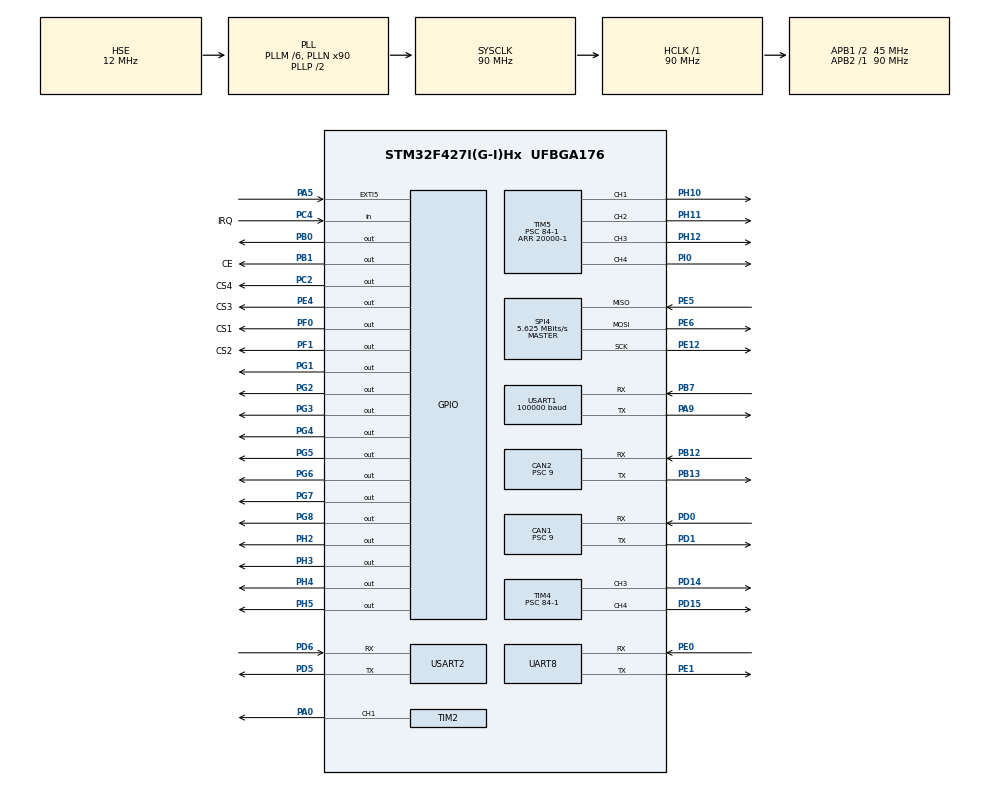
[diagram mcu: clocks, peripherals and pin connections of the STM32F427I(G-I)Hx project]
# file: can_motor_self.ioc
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CAN1.ABOM=DISABLE
CAN1.AWUM=DISABLE
CAN1.BS1=CAN_BS1_2TQ
CAN1.BS2=CAN_BS2_2TQ
CAN1.CalculateBaudRate=1000000
CAN1.CalculateTimeBit=1000
CAN1.CalculateTimeQuantum=200.0
CAN1.Prescaler=9
CAN1.TTCM=DISABLE
CAN2.BS1=CAN_BS1_2TQ
CAN2.BS2=CAN_BS2_2TQ
CAN2.CalculateBaudRate=1000000
CAN2.CalculateTimeBit=1000
CAN2.CalculateTimeQuantum=200.0
CAN2.Prescaler=9
Dma.Request0=UART8_TX
Dma.Request1=UART8_RX
Dma.Request2=SPI4_RX
Dma.Request3=SPI4_TX
Dma.Request4=USART1_RX
Dma.SPI4_RX.2.Direction=DMA_PERIPH_TO_MEMORY
Dma.SPI4_RX.2.FIFOMode=DMA_FIFOMODE_DISABLE
Dma.SPI4_RX.2.Instance=DMA2_Stream0
Dma.SPI4_RX.2.MemDataAlignment=DMA_MDATAALIGN_HALFWORD
Dma.SPI4_RX.2.MemInc=DMA_MINC_ENABLE
Dma.SPI4_RX.2.Mode=DMA_NORMAL
Dma.SPI4_RX.2.PeriphDataAlignment=DMA_PDATAALIGN_HALFWORD
Dma.SPI4_RX.2.PeriphInc=DMA_PINC_DISABLE
Dma.SPI4_RX.2.Priority=DMA_PRIORITY_LOW
Dma.SPI4_TX.3.Direction=DMA_MEMORY_TO_PERIPH
Dma.SPI4_TX.3.FIFOMode=DMA_FIFOMODE_DISABLE
Dma.SPI4_TX.3.Instance=DMA2_Stream1
Dma.SPI4_TX.3.MemDataAlignment=DMA_MDATAALIGN_HALFWORD
Dma.SPI4_TX.3.MemInc=DMA_MINC_ENABLE
Dma.SPI4_TX.3.Mode=DMA_NORMAL
Dma.SPI4_TX.3.PeriphDataAlignment=DMA_PDATAALIGN_HALFWORD
Dma.SPI4_TX.3.PeriphInc=DMA_PINC_DISABLE
Dma.SPI4_TX.3.Priority=DMA_PRIORITY_LOW
Dma.UART8_RX.1.Direction=DMA_PERIPH_TO_MEMORY
Dma.UART8_RX.1.FIFOMode=DMA_FIFOMODE_DISABLE
Dma.UART8_RX.1.Instance=DMA1_Stream6
Dma.UART8_RX.1.MemDataAlignment=DMA_MDATAALIGN_BYTE
Dma.UART8_RX.1.MemInc=DMA_MINC_ENABLE
Dma.UART8_RX.1.Mode=DMA_NORMAL
Dma.UART8_RX.1.PeriphDataAlignment=DMA_PDATAALIGN_BYTE
Dma.UART8_RX.1.PeriphInc=DMA_PINC_DISABLE
Dma.UART8_RX.1.Priority=DMA_PRIORITY_VERY_HIGH
Dma.UART8_TX.0.Direction=DMA_MEMORY_TO_PERIPH
Dma.UART8_TX.0.FIFOMode=DMA_FIFOMODE_DISABLE
Dma.UART8_TX.0.Instance=DMA1_Stream0
Dma.UART8_TX.0.MemDataAlignment=DMA_MDATAALIGN_BYTE
Dma.UART8_TX.0.MemInc=DMA_MINC_ENABLE
Dma.UART8_TX.0.Mode=DMA_NORMAL
Dma.UART8_TX.0.PeriphDataAlignment=DMA_PDATAALIGN_BYTE
Dma.UART8_TX.0.PeriphInc=DMA_PINC_DISABLE
Dma.UART8_TX.0.Priority=DMA_PRIORITY_VERY_HIGH
Dma.USART1_RX.4.Direction=DMA_PERIPH_TO_MEMORY
Dma.USART1_RX.4.FIFOMode=DMA_FIFOMODE_ENABLE
Dma.USART1_RX.4.FIFOThreshold=DMA_FIFO_THRESHOLD_FULL
Dma.USART1_RX.4.Instance=DMA2_Stream2
Dma.USART1_RX.4.MemBurst=DMA_MBURST_SINGLE
Dma.USART1_RX.4.MemDataAlignment=DMA_MDATAALIGN_BYTE
Dma.USART1_RX.4.MemInc=DMA_MINC_ENABLE
Dma.USART1_RX.4.Mode=DMA_CIRCULAR
Dma.USART1_RX.4.PeriphBurst=DMA_PBURST_SINGLE
Dma.USART1_RX.4.PeriphDataAlignment=DMA_PDATAALIGN_BYTE
Dma.USART1_RX.4.PeriphInc=DMA_PINC_DISABLE
Dma.USART1_RX.4.Priority=DMA_PRIORITY_LOW
Mcu.Family=STM32F4
Mcu.Name=STM32F427I(G-I)Hx
Mcu.Package=UFBGA176
NVIC.CAN1_RX0_IRQn=true\:0\:0\:false\:false\:true\:true\:true\:true
NVIC.CAN2_RX0_IRQn=true\:0\:0\:false\:false\:true\:true\:true\:true
NVIC.DMA1_Stream0_IRQn=true\:0\:0\:false\:false\:true\:false\:true\:true
NVIC.DMA1_Stream6_IRQn=true\:0\:0\:false\:false\:true\:false\:true\:true
NVIC.DMA2_Stream0_IRQn=true\:0\:0\:false\:false\:true\:false\:true\:true
NVIC.DMA2_Stream1_IRQn=true\:0\:0\:false\:false\:true\:false\:true\:true
NVIC.DMA2_Stream2_IRQn=true\:0\:0\:false\:false\:true\:false\:true\:true
NVIC.PriorityGroup=NVIC_PRIORITYGROUP_4
NVIC.SPI4_IRQn=true\:0\:0\:false\:false\:true\:true\:true\:true
NVIC.TIM1_UP_TIM10_IRQn=true\:15\:0\:false\:false\:true\:false\:true\:true
NVIC.TimeBase=TIM1_UP_TIM10_IRQn
NVIC.TimeBaseIP=TIM1
NVIC.UART8_IRQn=true\:0\:0\:false\:false\:true\:true\:true\:true
NVIC.USART1_IRQn=true\:0\:0\:false\:false\:true\:true\:true\:true
PA0/WKUP.Signal=S_TIM2_CH1_ETR
PA1.Signal=S_TIM2_CH2
PA13.Mode=Serial_Wire
PA13.Signal=SYS_JTMS-SWDIO
PA14.Mode=Serial_Wire
PA14.Signal=SYS_JTCK-SWCLK
PA2.Signal=S_TIM2_CH3
PA5.Signal=GPXTI5
PA9.Mode=Asynchronous
PA9.Signal=USART1_TX
PB0.PinState=GPIO_PIN_SET
PB0.Signal=GPIO_Output
PB1.GPIO_Label=CE
PB1.GPIO_PuPd=GPIO_PULLUP
PB1.GPIO_Speed=GPIO_SPEED_FREQ_HIGH
PB1.PinState=GPIO_PIN_SET
PB1.Signal=GPIO_Output
PB12.Mode=CAN_Activate
PB12.Signal=CAN2_RX
PB13.Mode=CAN_Activate
PB13.Signal=CAN2_TX
PB7.Mode=Asynchronous
PB7.Signal=USART1_RX
PC14/OSC32_IN.Mode=LSE-External-Oscillator
PC14/OSC32_IN.Signal=RCC_OSC32_IN
PC15/OSC32_OUT.Mode=LSE-External-Oscillator
PC15/OSC32_OUT.Signal=RCC_OSC32_OUT
PC2.GPIO_Label=CS4
PC2.GPIO_ModeDefaultOutputPP=GPIO_MODE_OUTPUT_PP
PC2.GPIO_PuPd=GPIO_PULLUP
PC2.GPIO_Speed=GPIO_SPEED_FREQ_VERY_HIGH
PC2.PinState=GPIO_PIN_SET
PC2.Signal=GPIO_Output
PC4.GPIO_Label=IRQ
PC4.GPIO_PuPd=GPIO_PULLUP
PC4.Signal=GPIO_Input
PD0.Mode=CAN_Activate
PD0.Signal=CAN1_RX
PD1.Mode=CAN_Activate
PD1.Signal=CAN1_TX
PD14.Signal=S_TIM4_CH3
PD15.Signal=S_TIM4_CH4
PD5.Mode=Asynchronous
PD5.Signal=USART2_TX
PD6.Mode=Asynchronous
PD6.Signal=USART2_RX
PE0.Mode=Asynchronous
PE0.Signal=UART8_RX
PE1.Mode=Asynchronous
PE1.Signal=UART8_TX
PE12.Mode=Full_Duplex_Master
PE12.Signal=SPI4_SCK
PE4.GPIO_Label=CS3
PE4.GPIO_PuPd=GPIO_PULLUP
PE4.GPIO_Speed=GPIO_SPEED_FREQ_VERY_HIGH
PE4.PinState=GPIO_PIN_SET
PE4.Signal=GPIO_Output
PE5.Mode=Full_Duplex_Master
PE5.Signal=SPI4_MISO
PE6.Mode=Full_Duplex_Master
PE6.Signal=SPI4_MOSI
PE7.Signal=UART7_RX
PE8.Signal=UART7_TX
PF0.GPIO_Label=CS1
PF0.GPIO_PuPd=GPIO_PULLUP
PF0.GPIO_Speed=GPIO_SPEED_FREQ_VERY_HIGH
PF0.PinState=GPIO_PIN_SET
PF0.Signal=GPIO_Output
PF1.GPIO_Label=CS2
PF1.GPIO_PuPd=GPIO_PULLUP
PF1.GPIO_Speed=GPIO_SPEED_FREQ_VERY_HIGH
PF1.PinState=GPIO_PIN_SET
PF1.Signal=GPIO_Output
PG1.GPIO_ModeDefaultOutputPP=GPIO_MODE_OUTPUT_PP
PG1.GPIO_PuPd=GPIO_PULLUP
PG1.Signal=GPIO_Output
PG2.Signal=GPIO_Output
PG3.Signal=GPIO_Output
PG4.Signal=GPIO_Output
PG5.Signal=GPIO_Output
PG6.Signal=GPIO_Output
PG7.Signal=GPIO_Output
PG8.Signal=GPIO_Output
PH0/OSC_IN.Mode=HSE-External-Oscillator
PH0/OSC_IN.Signal=RCC_OSC_IN
PH1/OSC_OUT.Mode=HSE-External-Oscillator
PH1/OSC_OUT.Signal=RCC_OSC_OUT
PH10.Signal=S_TIM5_CH1
PH11.Signal=S_TIM5_CH2
PH12.Signal=S_TIM5_CH3
PH2.GPIO_PuPd=GPIO_PULLUP
PH2.Signal=GPIO_Output
PH3.GPIO_PuPd=GPIO_PULLUP
PH3.Signal=GPIO_Output
PH4.GPIO_PuPd=GPIO_PULLUP
PH4.PinState=GPIO_PIN_SET
PH4.Signal=GPIO_Output
PH5.GPIO_PuPd=GPIO_PULLUP
PH5.PinState=GPIO_PIN_RESET
PH5.Signal=GPIO_Output
PI0.Signal=S_TIM5_CH4
ProjectManager.HeapSize=0x200
ProjectManager.StackSize=0x400
ProjectManager.TargetToolchain=MDK-ARM V5.32
RCC.48MHZClocksFreq_Value=45000000
RCC.AHBFreq_Value=90000000
RCC.APB1CLKDivider=RCC_HCLK_DIV2
RCC.APB1Freq_Value=45000000
RCC.APB1TimFreq_Value=90000000
RCC.APB2Freq_Value=90000000
RCC.APB2TimFreq_Value=90000000
RCC.CortexFreq_Value=90000000
RCC.HCLKFreq_Value=90000000
RCC.HSE_VALUE=12000000
RCC.HSI_VALUE=16000000
RCC.PLLM=6
RCC.PLLN=90
RCC.PLLSourceVirtual=RCC_PLLSOURCE_HSE
RCC.SYSCLKFreq_VALUE=90000000
RCC.SYSCLKSource=RCC_SYSCLKSOURCE_PLLCLK
RCC.VCOOutputFreq_Value=180000000
SH.S_TIM2_CH1_ETR.0=TIM2_CH1,PWM Generation1 CH1
SH.S_TIM2_CH2.0=TIM2_CH2
SH.S_TIM2_CH3.0=TIM2_CH3
SH.S_TIM4_CH3.0=TIM4_CH3,PWM Generation3 CH3
SH.S_TIM4_CH4.0=TIM4_CH4,PWM Generation4 CH4
SH.S_TIM5_CH1.0=TIM5_CH1,PWM Generation1 CH1
SH.S_TIM5_CH2.0=TIM5_CH2,PWM Generation2 CH2
SH.S_TIM5_CH3.0=TIM5_CH3,PWM Generation3 CH3
SH.S_TIM5_CH4.0=TIM5_CH4,PWM Generation4 CH4
SPI4.BaudRatePrescaler=SPI_BAUDRATEPRESCALER_16
SPI4.CLKPhase=SPI_PHASE_2EDGE
SPI4.CLKPolarity=SPI_POLARITY_LOW
SPI4.CRCCalculation=SPI_CRCCALCULATION_DISABLE
SPI4.CalculateBaudRate=5.625 MBits/s
SPI4.DataSize=SPI_DATASIZE_16BIT
SPI4.Direction=SPI_DIRECTION_2LINES
SPI4.Mode=SPI_MODE_MASTER
SPI4.VirtualType=VM_MASTER
TIM2.AutoReloadPreload=TIM_AUTORELOAD_PRELOAD_ENABLE
TIM2.Channel-PWM\ Generation1\ CH1=TIM_CHANNEL_1
TIM2.Period=2000
TIM2.Prescaler=180-1
TIM2.Pulse-PWM\ Generation1\ CH1=0
TIM4.AutoReloadPreload=TIM_AUTORELOAD_PRELOAD_ENABLE
TIM4.Channel-PWM\ Generation3\ CH3=TIM_CHANNEL_3
TIM4.Channel-PWM\ Generation4\ CH4=TIM_CHANNEL_4
TIM4.Period=20000-1
TIM4.Prescaler=84-1
TIM5.AutoReloadPreload=TIM_AUTORELOAD_PRELOAD_ENABLE
TIM5.Channel-PWM\ Generation1\ CH1=TIM_CHANNEL_1
TIM5.Channel-PWM\ Generation2\ CH2=TIM_CHANNEL_2
TIM5.Channel-PWM\ Generation3\ CH3=TIM_CHANNEL_3
TIM5.Channel-PWM\ Generation4\ CH4=TIM_CHANNEL_4
TIM5.Period=20000-1
TIM5.Prescaler=84-1
UART8.VirtualMode=Asynchronous
USART1.BaudRate=100000
USART1.Mode=MODE_RX
USART1.Parity=PARITY_EVEN
USART1.VirtualMode=VM_ASYNC
USART1.WordLength=WORDLENGTH_9B
USART2.VirtualMode=VM_ASYNC
VP_SYS_VS_tim1.Mode=TIM1
VP_TIM2_VS_ClockSourceINT.Mode=Internal
board=custom

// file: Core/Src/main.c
/* USER CODE BEGIN Header */
/**
  ******************************************************************************
  * @file           : main.c
  * @brief          : Main program body
  ******************************************************************************
  * @attention
  *
  * Copyright (c) 2024 STMicroelectronics.
  * All rights reserved.
  *
  * This software is licensed under terms that can be found in the LICENSE file
  * in the root directory of this software component.
  * If no LICENSE file comes with this software, it is provided AS-IS.
  *
  ******************************************************************************
  */
/* USER CODE END Header */
#include "main.h"
#include "can.h"
#include "dma.h"
#include "spi.h"
#include "tim.h"
#include "usart.h"
#include "gpio.h"

/* USER CODE BEGIN Includes */
#include "CAN_receive.h"
#include "bsp_can.h"
#include "A_bsp.h"
#include "motor.h"
#include "Servos.h"
#include "nrf24L01.h"
#include "stdio.h"
#include "remote_control.h"
#include "Vofa_firewater.h"
#include "JY901.h"
#include "JY901_struct.h"
#include "mapan.h"
#include "JYME01.h"
#include "spi5012.h"
/* USER CODE END Includes */

/* USER CODE BEGIN PV */
chassis_move_t chassis_move;
float angle_v[4];
float remote[3]={0};
extern RC_Ct2_t RC_REMOT;//将反馈的数据进行数值更改
/* USER CODE END PV */

void SystemClock_Config(void);

int main(void)
{

  /* MCU Configuration--------------------------------------------------------*/

  /* Reset of all peripherals, Initializes the Flash interface and the Systick. */
  HAL_Init();

  /* Configure the system clock */
  SystemClock_Config();

  /* Initialize all configured peripherals */
  MX_GPIO_Init();
  MX_DMA_Init();
  MX_CAN1_Init();
  MX_TIM2_Init();
  MX_SPI4_Init();
  MX_TIM5_Init();
  MX_USART1_UART_Init();
  MX_CAN2_Init();
  MX_TIM4_Init();
  MX_UART8_Init();
  MX_USART2_UART_Init();
  /* USER CODE BEGIN 2 */

	can_filter_init(&hcan1);//配置CAN过滤器
	can_filter_init(&hcan2);
	HAL_CAN_Start(&hcan1);   //开启CAN总开关
	HAL_CAN_Start(&hcan2);   //开启CAN总开关
	HAL_CAN_ActivateNotification(&hcan1, CAN_IT_RX_FIFO0_MSG_PENDING);//启动CAN1接收中断
	HAL_CAN_ActivateNotification(&hcan2, CAN_IT_RX_FIFO0_MSG_PENDING);//启动CAN2接收中断

  /* USER CODE END 2 */

  /* Infinite loop */
  /* USER CODE BEGIN WHILE */
	chassis_init(&chassis_move);
	remote_control_Init();
//	sigang_Init(&chassis_move);
  while (1)
  {
//
		chassis_move.vx_set = -RC_REMOT.ch2*0.00001;
		chassis_move.vy_set = RC_REMOT.ch3*0.00001;
		chassis_move.wz_set = RC_REMOT.ch0*0.00001;
		remote_control_task();
		chassis_feedback_update(&chassis_move);//底盘数据更新
		chassis_control_loop(&chassis_move);//底盘控制PID计算
		CAN2_cmd_chassis(chassis_move.motor_chassis2[0].give_current,chassis_move.motor_chassis2[1].give_current,chassis_move.motor_chassis2[2].give_current,chassis_move.motor_chassis2[3].give_current);
		CAN_cmd_chassis(chassis_move.motor_chassis[0].give_current,chassis_move.motor_chassis[1].give_current,chassis_move.motor_chassis[2].give_current,chassis_move.motor_chassis[3].give_current);

		//		firewater_task();
		HAL_Delay(1);

    /* USER CODE END WHILE */

  }
}

void SystemClock_Config(void)
{
  RCC_OscInitTypeDef RCC_OscInitStruct = {0};
  RCC_ClkInitTypeDef RCC_ClkInitStruct = {0};

  /** Configure the main internal regulator output voltage
  */
  __HAL_RCC_PWR_CLK_ENABLE();
  __HAL_PWR_VOLTAGESCALING_CONFIG(PWR_REGULATOR_VOLTAGE_SCALE3);

  /** Initializes the RCC Oscillators according to the specified parameters
  * in the RCC_OscInitTypeDef structure.
  */
  RCC_OscInitStruct.OscillatorType = RCC_OSCILLATORTYPE_HSE;
  RCC_OscInitStruct.HSEState = RCC_HSE_ON;
  RCC_OscInitStruct.PLL.PLLState = RCC_PLL_ON;
  RCC_OscInitStruct.PLL.PLLSource = RCC_PLLSOURCE_HSE;
  RCC_OscInitStruct.PLL.PLLM = 6;
  RCC_OscInitStruct.PLL.PLLN = 90;
  RCC_OscInitStruct.PLL.PLLP = RCC_PLLP_DIV2;
  RCC_OscInitStruct.PLL.PLLQ = 4;
  if (HAL_RCC_OscConfig(&RCC_OscInitStruct) != HAL_OK)
  {
    Error_Handler();
  }

  /** Activate the Over-Drive mode
  */
  if (HAL_PWREx_EnableOverDrive() != HAL_OK)
  {
    Error_Handler();
  }

  /** Initializes the CPU, AHB and APB buses clocks
  */
  RCC_ClkInitStruct.ClockType = RCC_CLOCKTYPE_HCLK|RCC_CLOCKTYPE_SYSCLK
                              |RCC_CLOCKTYPE_PCLK1|RCC_CLOCKTYPE_PCLK2;
  RCC_ClkInitStruct.SYSCLKSource = RCC_SYSCLKSOURCE_PLLCLK;
  RCC_ClkInitStruct.AHBCLKDivider = RCC_SYSCLK_DIV1;
  RCC_ClkInitStruct.APB1CLKDivider = RCC_HCLK_DIV2;
  RCC_ClkInitStruct.APB2CLKDivider = RCC_HCLK_DIV1;

  if (HAL_RCC_ClockConfig(&RCC_ClkInitStruct, FLASH_LATENCY_2) != HAL_OK)
  {
    Error_Handler();
  }
}

/* USER CODE BEGIN 4 */

void HAL_UART_RxCpltCallback(UART_HandleTypeDef *huart)
{

	if(huart->Instance == USART1)
	{
		remote_control_callback();
	}

	if(huart->Instance == UART8)
	{

	}
}
/* USER CODE END 4 */

void HAL_TIM_PeriodElapsedCallback(TIM_HandleTypeDef *htim)
{
  if (htim->Instance == TIM1) {
    HAL_IncTick();
  }
}

void Error_Handler(void)
{
  __disable_irq();
  while (1)
  {
  }
}
